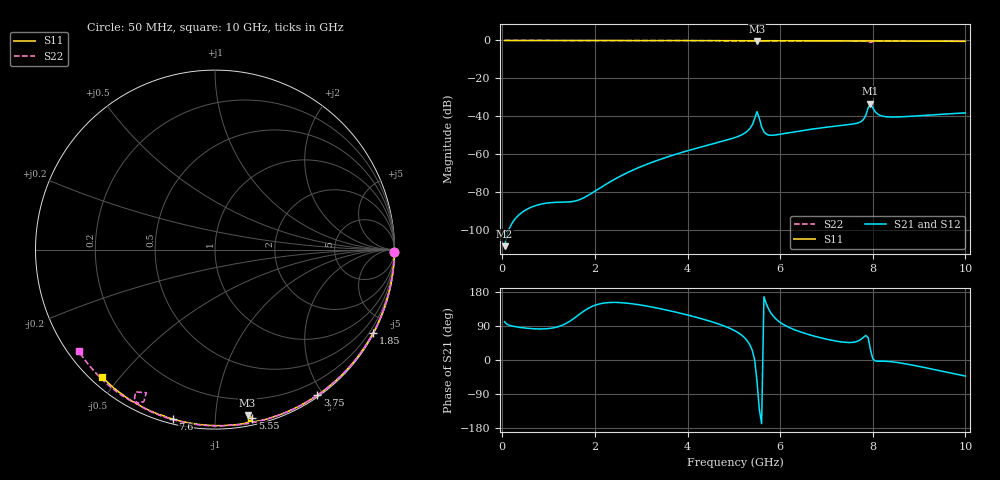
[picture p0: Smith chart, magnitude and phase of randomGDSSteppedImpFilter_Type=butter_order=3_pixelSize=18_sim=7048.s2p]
! freq	dB(S11)	phase(S11)	dB(S12)	phase(S12)
!  dB(S21)	phase(S21)	dB(S22)	phase(S22)
!S-par simulation data
#  GHz  S  DB  R 50
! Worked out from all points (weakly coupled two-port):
!   200 points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, 50 MHz to 10 GHz, reference 50 ohm
!   highest |S21| = -33.33 dB at 7.95 GHz (marker M1); lowest = -108.7 dB at 50 MHz (marker M2)
!   lowest |S11| = -0.5 dB at 5.5 GHz (marker M3), VSWR 32.66, Z = 3.79 - j60.7 ohm
!   |S11| at or under -10 dB: nowhere
!   |S22| runs from -1.1 to 0.0 dB; largest |S21 - S12| = 0
!   S11 on the Smith chart (normalised r, x): 50 MHz: open; 1.85 GHz: 0.04, -4.05; 3.75 GHz: 0.02, -1.93; 5.55 GHz: 0.05, -1.25; 7.6 GHz: 0.02, -0.78; 10 GHz: 0.03, -0.45
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0.05  -0.00 -0.8  -108.66 100.9  -108.66 100.9  -0.00 -0.8
1.75  -0.03 -26.3  -83.20 128.2  -83.20 128.2  -0.04 -28.6
1.85  -0.04 -27.7  -81.88 135.9  -81.88 135.9  -0.04 -30.2
2  -0.04 -29.9  -79.62 144.4  -79.62 144.4  -0.04 -32.6
2.65  -0.05 -39.4  -70.43 150.5  -70.43 150.5  -0.05 -42.8
3.4  -0.07 -50.0  -62.88 135.6  -62.88 135.6  -0.07 -54.3
3.75  -0.07 -54.9  -60.09 126.2  -60.09 126.2  -0.08 -59.6
5.05  -0.11 -72.5  -51.06 75.2  -51.06 75.2  -0.12 -78.5
5.35  -0.14 -76.9  -46.42 39.1  -46.42 39.1  -0.13 -82.8
5.4  -0.17 -77.8  -44.44 24.7  -44.44 24.7  -0.14 -83.5
5.5  -0.53 -78.9  -37.62 -56.5  -37.62 -56.5  -0.18 -85.0
5.55  -0.35 -77.4  -41.05 -129.5  -41.05 -129.5  -0.17 -85.4
5.6  -0.21 -78.4  -45.66 -168.0  -45.66 -168.0  -0.15 -86.1
5.65  -0.17 -79.3  -48.22 166.8  -48.22 166.8  -0.15 -86.8
5.75  -0.15 -80.9  -49.95 134.4  -49.95 134.4  -0.15 -88.2
6.7  -0.18 -93.1  -46.79 64.3  -46.79 64.3  -0.20 -101.2
7.6  -0.24 -104.0  -44.02 47.2  -44.02 47.2  -0.28 -113.6
7.8  -0.26 -106.4  -41.68 60.1  -41.68 60.1  -0.38 -117.1
7.95  -0.27 -108.0  -33.33 26.9  -33.33 26.9  -1.07 -115.7
8.1  -0.27 -109.8  -38.82 -3.3  -38.82 -3.3  -0.35 -117.6
8.35  -0.29 -112.8  -40.40 -3.9  -40.40 -3.9  -0.31 -121.8
10  -0.46 -131.7  -38.26 -42.3  -38.26 -42.3  -0.47 -143.4
